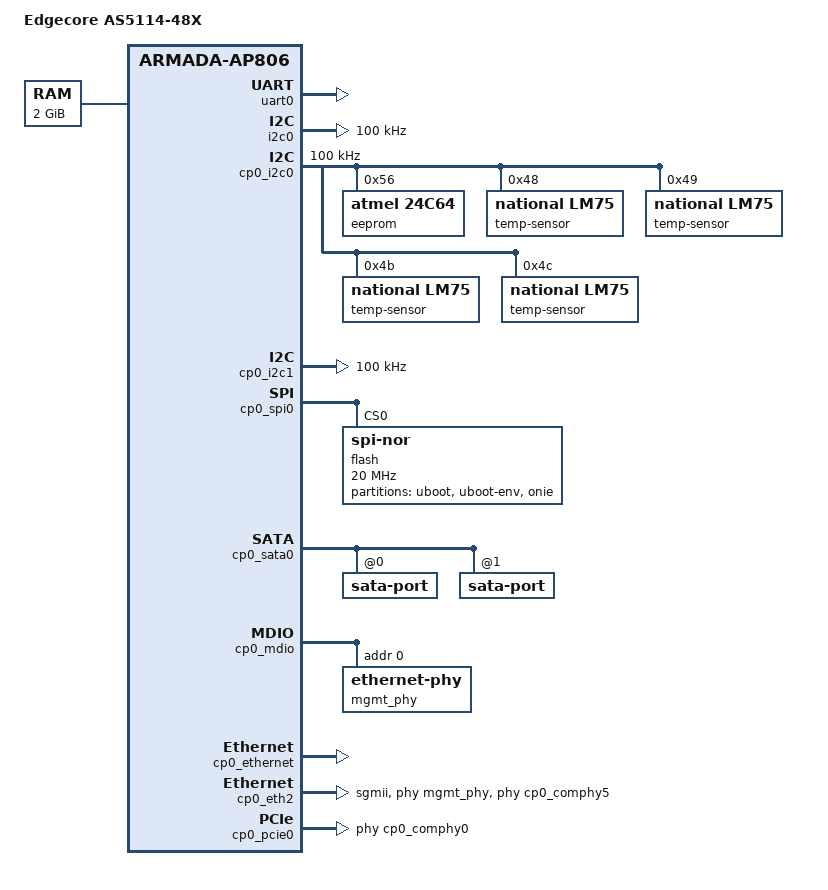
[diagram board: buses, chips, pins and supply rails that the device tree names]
// SPDX-License-Identifier: (GPL-2.0+ OR X11)
/*
 * Edgecore AS5114-48X (Accton AS4224 family): Armada 7040 + an Armada 385
 * co-CPU that fronts the Prestera Aldrin2 over PCIe (11ab:cc1e).
 * Written for mainline from the board facts in ai_re/devices/edge-core-as5114-48x
 * (DENT's AS4224 DTB, the factory U-Boot, live ONIE reads); structure follows the
 * TN48M board DTS (same SoC). Basic bring-up: console, mgmt port, SATA, SPI NOR,
 * TLV EEPROM, board temperature sensors, prestera. No SFP/CPLD/fan description yet.
 */
#include "armada-7040.dtsi"

/ {
	model = "Edgecore AS5114-48X";
	compatible = "edgecore,as5114-48x", "accton,as4224", "marvell,armada7040",
		     "marvell,armada-ap806-quad", "marvell,armada-ap806";

	chosen {
		stdout-path = "serial0:115200n8";
	};

	/* Placeholder; the factory U-Boot fixes up both banks (3 GiB @0 + 5 GiB @4 GiB). */
	memory@0 {
		device_type = "memory";
		reg = <0x0 0x0 0x0 0x80000000>;
	};

	aliases {
		/* The factory U-Boot writes $ethaddr into the ethernet0 alias' node. */
		ethernet0 = &cp0_eth2;
	};
};

&uart0 {
	status = "okay";
};

/* AP i2c@511000: AS4224 CPLD @0x40 (no mainline driver; bus only). */
&i2c0 {
	status = "okay";
	clock-frequency = <100000>;
};

/* cp0 i2c@701000: TLV EEPROM + four LM75-class sensors (DENT/ONL map, U-Boot probe). */
&cp0_i2c0 {
	status = "okay";
	clock-frequency = <100000>;

	eeprom@56 {
		compatible = "atmel,24c64";
		reg = <0x56>;
		read-only;

		nvmem-layout {
			compatible = "onie,tlv-layout";

			onie_base_mac: mac-address {
				#nvmem-cell-cells = <1>;
			};
		};
	};

	temp-sensor@48 { compatible = "national,lm75"; reg = <0x48>; };
	temp-sensor@49 { compatible = "national,lm75"; reg = <0x49>; };
	temp-sensor@4b { compatible = "national,lm75"; reg = <0x4b>; };
	temp-sensor@4c { compatible = "national,lm75"; reg = <0x4c>; };
};

/* cp0 i2c@701100: six PCA9548 muxes @0x71-0x76 to the SFP EEPROMs (not described yet). */
&cp0_i2c1 {
	status = "okay";
	clock-frequency = <100000>;
};

/* Boot NOR (U4). U-Boot and ONIE read-only from Linux; only the env is writable. */
&cp0_spi0 {
	status = "okay";

	flash@0 {
		compatible = "jedec,spi-nor";
		reg = <0x0>;
		spi-max-frequency = <20000000>;

		partitions {
			compatible = "fixed-partitions";
			#address-cells = <1>;
			#size-cells = <1>;

			partition@0 {
				label = "uboot";
				reg = <0x0 0x200000>;
				read-only;
			};
			partition@200000 {
				label = "uboot-env";
				reg = <0x200000 0x10000>;
			};
			partition@210000 {
				label = "onie";
				reg = <0x210000 0xdf0000>;
				read-only;
			};
		};
	};
};

&cp0_sata0 {
	status = "okay";

	sata-port@0 {
		status = "okay";
	};
	sata-port@1 {
		status = "okay";
	};
};

&cp0_mdio {
	status = "okay";

	mgmt_phy: ethernet-phy@0 {
		reg = <0x0>;
	};
};

&cp0_ethernet {
	status = "okay";
};

&cp0_eth0 {
	status = "disabled";
};

&cp0_eth1 {
	status = "disabled";
};

/* Management port (ONIE's eth0): SGMII on comphy lane 5. */
&cp0_eth2 {
	status = "okay";
	phy-mode = "sgmii";
	phy = <&mgmt_phy>;
	phys = <&cp0_comphy5 2>;
	nvmem-cells = <&onie_base_mac 0>;
	nvmem-cell-names = "mac-address";
};

/* PEX0 x1 Gen2 to the A385's endpoint (presents 11ab:cc1e); prestera_pci binds there. */
&cp0_pcie0 {
	status = "okay";
	phys = <&cp0_comphy0 0>;
	/* prestera_pci uses a 30-bit DMA mask. */
	dma-ranges = <0x42000000 0x0 0x00000000 0x0 0x00000000 0x0 0x40000000>;
	ranges = <0x81000000 0x0 0xfb000000 0x0 0xfb000000 0x0 0xf0000
		  0x82000000 0x0 0xf6000000 0x0 0xf6000000 0x0 0xf00000
		  0x82000000 0x0 0xf9000000 0x0 0xf9000000 0x0 0x100000>;
	#address-cells = <3>;
	#size-cells = <2>;

	pcie@0,0 {
		device_type = "pci";
		reg = <0x0 0 0 0 0>;
		ranges;
		#address-cells = <3>;
		#size-cells = <2>;

		prestera@0,0 {
			reg = <0x0 0 0 0 0>;
			/* mgmt = base+0; switch ports from base+1 (65 MACs in the TLV). */
			nvmem-cells = <&onie_base_mac 1>;
			nvmem-cell-names = "mac-address";
		};
	};
};
